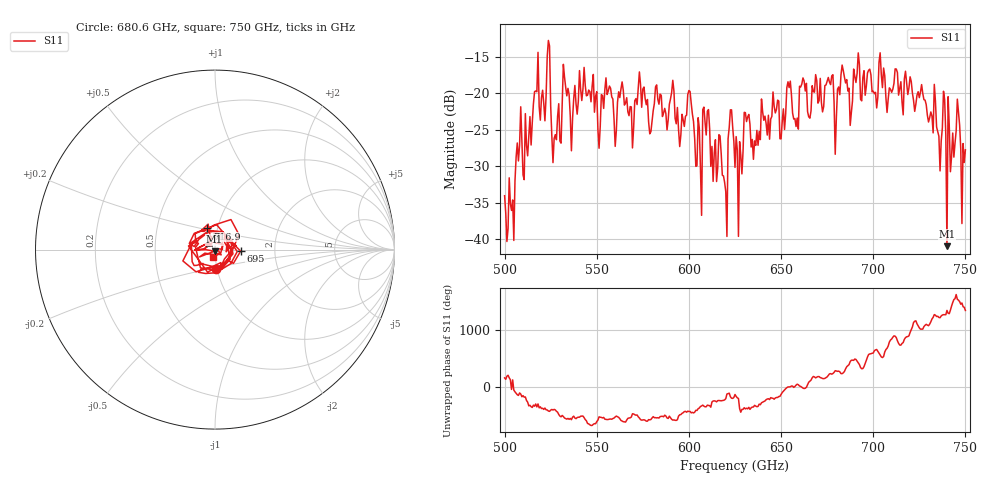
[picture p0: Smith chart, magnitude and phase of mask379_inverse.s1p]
!Created with skrf (http://scikit-rf.org).
# GHz S MA R 50.0
!freq magS11 angS11
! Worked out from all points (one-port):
!   401 points, 500 GHz to 750 GHz, reference 50 ohm
!   lowest |S11| = -41.0 dB at 740 GHz (marker M1), VSWR 1.02, Z = 49.8 - j0.859 ohm
!   |S11| at or under -10 dB: start of sweep to end of sweep
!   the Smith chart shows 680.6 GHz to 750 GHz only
!   S11 on the Smith chart (normalised r, x): 680.6 GHz: 0.99, -0.21; 695 GHz: 1.33, -0.02; 716.9 GHz: 0.89, +0.21; 750 GHz: 0.97, -0.08
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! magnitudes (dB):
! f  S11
! 500 GHz  -34.0
! 504.4 GHz  -34.6
! 507.5 GHz  -29.3
! 511.2 GHz  -22.8
! 516.9 GHz  -19.7
! 523.8 GHz  -12.7
! 526.9 GHz  -26.2
! 531.2 GHz  -21.3
! 562.5 GHz  -20.6
! 593.8 GHz  -21.9
! 600.6 GHz  -19.8
! 605.6 GHz  -24.8
! 609.4 GHz  -25.7
! 619.4 GHz  -32.2
! 622.5 GHz  -22.3
! 625 GHz  -30.2
! 628.1 GHz  -28.5
! 631.2 GHz  -23.9
! 635 GHz  -29.0
! 656.2 GHz  -22.7
! 680.6 GHz  -19.4
! 683.8 GHz  -16.9
! 687.5 GHz  -24.4
! 695 GHz  -16.9
! 716.9 GHz  -18.0
! 718.8 GHz  -20.2
! 740 GHz  -41.0
! 750 GHz  -27.7
